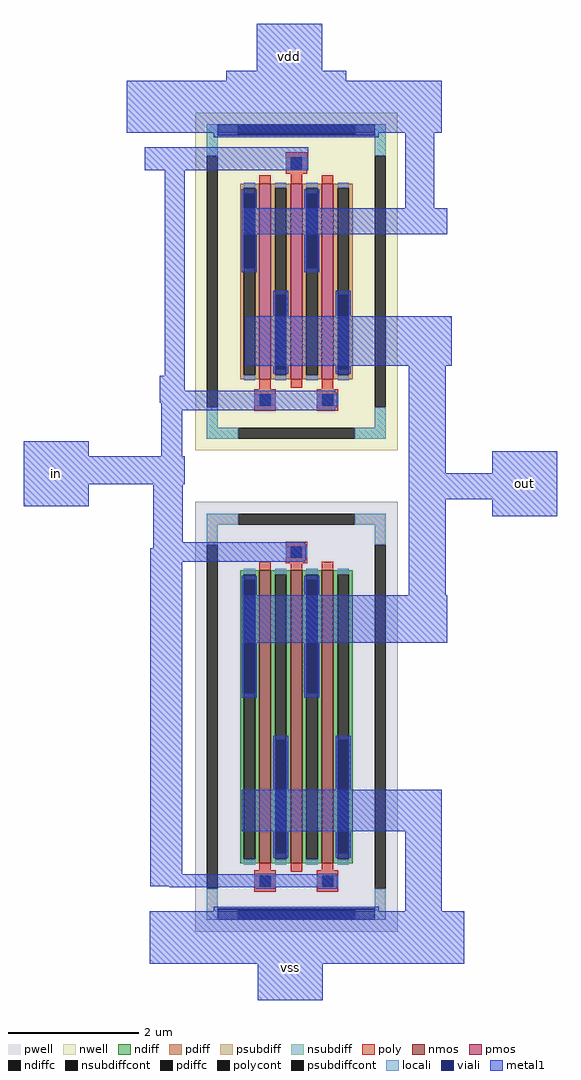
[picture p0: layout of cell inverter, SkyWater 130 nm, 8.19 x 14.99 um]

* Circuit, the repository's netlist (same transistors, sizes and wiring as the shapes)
** sch_path: /home/kevin/Documents/msvsd3bitfadc/week0/inverter/xschem/inverter.sch
.subckt inverter in vdd vss out
*.PININFO in:I vdd:B vss:B out:O
M1 out in vss vss sky130_fd_pr__nfet_01v8 L=0.18 W=13.5 nf=3 m=1
M2 out in vdd vdd sky130_fd_pr__pfet_01v8 L=0.18 W=9 nf=3 m=1
.ends
.end

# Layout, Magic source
magic
tech sky130A
magscale 1 2
<< metal1 >>
rect 288 1966 488 2110
rect 194 1936 562 1966
rect -112 1776 856 1936
rect -56 1660 446 1732
rect 4 1030 66 1660
rect 744 1544 832 1776
rect 242 1464 872 1544
rect 252 1060 886 1212
rect -10 984 66 1030
rect -10 946 528 984
rect -6 924 528 946
rect -428 782 -228 828
rect -6 782 58 924
rect -428 696 66 782
rect 754 730 868 1060
rect 1010 730 1210 798
rect -428 628 -228 696
rect -30 518 60 696
rect 754 650 1210 730
rect -30 500 436 518
rect -40 458 436 500
rect -40 -502 58 458
rect 754 356 868 650
rect 1010 598 1210 650
rect 248 210 872 356
rect 242 -370 856 -242
rect -40 -538 528 -502
rect 18 -542 528 -538
rect 744 -616 856 -370
rect -42 -776 924 -616
rect 290 -888 490 -776
use sky130_fd_pr__nfet_01v8_BF3H2X  M1
transform 1 0 409 0 1 -18
box -311 -660 311 660
use sky130_fd_pr__pfet_01v8_RJKXRL  M2
transform 1 0 409 0 1 1319
box -311 -519 311 519
<< labels >>
flabel metal1 1010 598 1210 798 0 FreeSans 256 0 0 0 out
port 3 nsew
flabel metal1 -428 628 -228 828 0 FreeSans 256 0 0 0 in
port 0 nsew
flabel metal1 288 1910 488 2110 0 FreeSans 256 0 0 0 vdd
port 1 nsew
flabel metal1 290 -888 490 -688 0 FreeSans 256 0 0 0 vss
port 2 nsew
<< end >>

# cell sky130_fd_pr__nfet_01v8_BF3H2X: kit device sky130_fd_pr__nfet_01v8, w 4.5 l 0.18 m 1 nf 3 diffcov 100 polycov 100 guard 1 glc 1 grc 1 gtc 1 gbc 1 tbcov 100 rlcov 100 topc 1 botc 1 poverlap 0 doverlap 1 lmin 0.15 wmin 0.42 compatible {sky130_fd_pr__nfet_01v8 sky130_fd_pr__nfet_01v8_lvt sky130_fd_bs_flash__special_sonosfet_star sky130_fd_pr__nfet_g5v0d10v5 sky130_fd_pr__nfet_05v0_nvt sky130_fd_pr__nfet_03v3_nvt} full_metal 1 viasrc +40 viadrn -40 viagate 100 viagb 100 viagr 0 viagl 0 viagt 0

# cell sky130_fd_pr__pfet_01v8_RJKXRL: kit device sky130_fd_pr__pfet_01v8, w 3.0 l 0.18 m 1 nf 3 diffcov 100 polycov 100 guard 1 glc 1 grc 1 gtc 1 gbc 1 tbcov 100 rlcov 100 topc 1 botc 1 poverlap 0 doverlap 1 lmin 0.15 wmin 0.42 compatible {sky130_fd_pr__pfet_01v8 sky130_fd_pr__pfet_01v8_lvt sky130_fd_pr__pfet_01v8_hvt sky130_fd_pr__pfet_g5v0d10v5} full_metal 1 viasrc +40 viadrn -40 viagate 100 viagb 0 viagr 0 viagl 0 viagt 100
